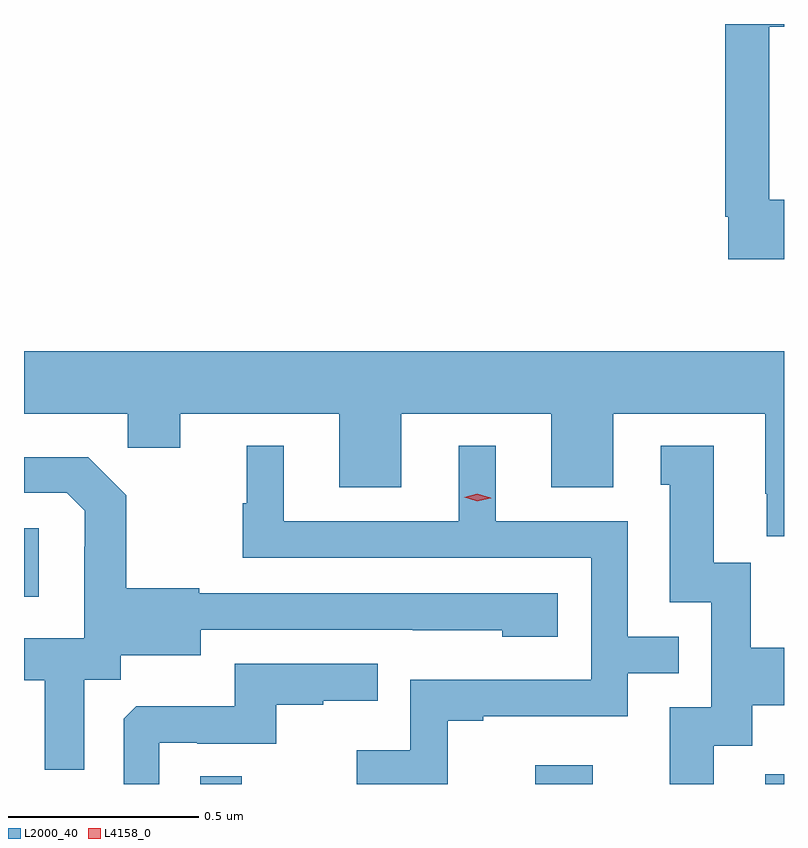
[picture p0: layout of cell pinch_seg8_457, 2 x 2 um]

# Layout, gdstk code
import gdstk
lib = gdstk.Library(unit=1e-6, precision=1e-09)
def R(c, l, rs):  # rectangles x0, y0, x1, y1
    for r in rs: c.add(gdstk.rectangle(r[:2], r[2:], *l))
def P(c, l, *ps):  # polygons
    for p in ps: c.add(gdstk.Polygon(p, *l))
L2000_40 = (2000, 40)
L4158_0 = (4158, 0)

pinch_seg8_457 = lib.new_cell('pinch_seg8_457')
R(pinch_seg8_457, L2000_40, [(334.008,1152.821,334.117,1152.842), (334.889,1152.821,335.041,1152.871), (335.495,1152.821,335.544,1152.847), (333.544,1153.314,333.583,1153.494)])
P(pinch_seg8_457, L2000_40, [(335.544,1154.358),(335.505,1154.358),(335.505,1154.814),(335.544,1154.814),(335.544,1154.821),(335.389,1154.821),(335.389,1154.314),(335.397,1154.314),(335.397,1154.202),(335.544,1154.202)],
  [(335.544,1153.96),(333.544,1153.96),(333.544,1153.796),(333.817,1153.796),(333.817,1153.706),(333.955,1153.706),(333.955,1153.796),(334.373,1153.796),(334.373,1153.602),(334.537,1153.602),(334.537,1153.796),(334.931,1153.796),(334.931,1153.602),(335.095,1153.602),(335.095,1153.796),(335.495,1153.796),(335.495,1153.585),(335.498,1153.585),(335.498,1153.473),(335.544,1153.473)],
  [(335.359,1152.922),(335.461,1152.922),(335.461,1153.028),(335.544,1153.028),(335.544,1153.18),(335.457,1153.18),(335.457,1153.403),(335.359,1153.403),(335.359,1153.711),(335.219,1153.711),(335.219,1153.608),(335.243,1153.608),(335.243,1153.299),(335.352,1153.299),(335.352,1153.023),(335.243,1153.023),(335.243,1152.821),(335.359,1152.821)],
  [(334.659,1152.987),(334.753,1152.987),(334.753,1152.999),(335.133,1152.999),(335.133,1153.113),(335.267,1153.113),(335.267,1153.209),(335.133,1153.209),(335.133,1153.512),(334.786,1153.512),(334.786,1153.711),(334.688,1153.711),(334.688,1153.512),(334.228,1153.512),(334.228,1153.711),(334.13,1153.711),(334.13,1153.56),(334.119,1153.56),(334.119,1153.416),(335.037,1153.416),(335.037,1153.095),(334.56,1153.095),(334.56,1152.91),(334.419,1152.91),(334.419,1152.821),(334.659,1152.821)],
  [(333.703,1153.096),(333.798,1153.096),(333.798,1153.16),(334.009,1153.16),(334.009,1153.227),(334.567,1153.227),(334.567,1153.226),(334.803,1153.226),(334.803,1153.208),(334.948,1153.208),(334.948,1153.323),(334.005,1153.323),(334.005,1153.336),(333.813,1153.336),(333.813,1153.581),(333.713,1153.681),(333.544,1153.681),(333.544,1153.587),(333.657,1153.587),(333.704,1153.54),(333.704,1153.445),(333.702,1153.445),(333.702,1153.204),(333.544,1153.204),(333.544,1153.094),(333.599,1153.094),(333.599,1152.858),(333.703,1152.858)],
  [(333.9,1152.93),(334,1152.93),(334,1152.927),(334.208,1152.927),(334.208,1153.029),(334.331,1153.029),(334.331,1153.04),(334.475,1153.04),(334.475,1153.137),(334.098,1153.137),(334.098,1153.025),(333.839,1153.025),(333.807,1152.993),(333.807,1152.821),(333.9,1152.821)])
P(pinch_seg8_457, L4158_0, [(334.737,1153.565),(334.702,1153.576),(334.701,1153.576),(334.702,1153.576),(334.737,1153.585),(334.772,1153.574),(334.773,1153.573),(334.772,1153.573)])

lib.write_gds('pinch_seg8_457.gds')
